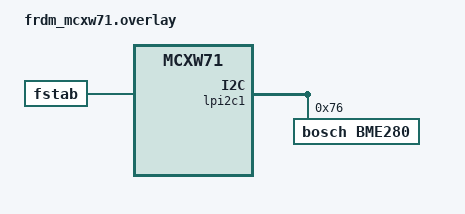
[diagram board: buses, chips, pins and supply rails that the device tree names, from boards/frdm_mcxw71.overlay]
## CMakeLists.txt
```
# Copyright (c) 2025 Golioth, Inc.
#
# SPDX-License-Identifier: Apache-2.0

cmake_minimum_required(VERSION 3.20.0)

find_package(Zephyr REQUIRED HINTS $ENV{ZEPHYR_BASE})
project(ble_gatt_example)

target_sources(app PRIVATE
  src/main.c
  src/credentials.c
  src/fatal_error.c
  src/fw_update.c
  src/app_weather.c
)
```

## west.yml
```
# Copyright (c) 2025 Golioth, Inc.
# SPDX-License-Identifier: Apache-2.0

manifest:
  version: 0.8

  projects:

# Temporarily calling out Zephyr first to pull in 4.1.0 in order to use LinkServer and nxp_hal

    - name: zephyr
      revision: v4.1.0
      url: https://github.com/zephyrproject-rtos/zephyr
      west-commands: scripts/west-commands.yml
      import:
        path-prefix: deps
        name-allowlist:
          - zephyr
          - cmsis
          - hal_nordic
          - hal_nxp
          - mbedtls
          - mcuboot
          - segger
          - tfm-mcuboot
          - tinycrypt
          - trusted-firmware-m
          - zcbor
          - littlefs
    - name: pouch
      path: deps/pouch
      revision: v0.1.0
      west-commands: scripts/west-commands.yml
      url: https://github.com/golioth/pouch/
      import: true
```

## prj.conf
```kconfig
# Copyright (c) 2025 Golioth, Inc.
#
# SPDX-License-Identifier: Apache-2.0

CONFIG_BT=y
CONFIG_BT_SMP=y
CONFIG_BT_PERIPHERAL=y
CONFIG_BT_DEVICE_NAME="Golioth"
CONFIG_BT_DEVICE_APPEARANCE=768

CONFIG_BT_BUF_ACL_TX_SIZE=251
CONFIG_BT_BUF_ACL_RX_SIZE=251
CONFIG_BT_L2CAP_TX_MTU=247

# This is needed due to an off-by-one error in Kconfig defaults
CONFIG_BT_CTLR_DATA_LENGTH_MAX=251

CONFIG_BT_RX_STACK_SIZE=4096

CONFIG_MAIN_STACK_SIZE=4096

CONFIG_MBEDTLS_HEAP_SIZE=9192

# CONFIG_MBEDTLS_ENABLE_HEAP=y

# This option is implied by BT_SMP and breaks secp384r1 support
CONFIG_MBEDTLS_PSA_P256M_DRIVER_ENABLED=n

# Turn off default options to reduce ROM usage
CONFIG_MBEDTLS_PKCS5_C=n

CONFIG_LOG=y
CONFIG_ZCBOR=y
CONFIG_REBOOT=y
CONFIG_SHELL=y

CONFIG_POUCH=y
CONFIG_POUCH_TRANSPORT_BLE_GATT=y

CONFIG_GOLIOTH=y
CONFIG_GOLIOTH_SETTINGS=y
CONFIG_GOLIOTH_OTA=y

# Enable flash operations
CONFIG_FLASH=y
CONFIG_FLASH_MAP=y

# Enable the LittleFS file system
CONFIG_FILE_SYSTEM=y
CONFIG_FILE_SYSTEM_LITTLEFS=y
CONFIG_FILE_SYSTEM_SHELL=y

CONFIG_MCUMGR=y

# Enable console with mcumgr pass through
CONFIG_CONSOLE=y
CONFIG_UART_CONSOLE=y
CONFIG_UART_CONSOLE_MCUMGR=y

# Enable the shell mcumgr transport. This allows SMP messages to pass
# through the shell to the mgmt subsystem.
CONFIG_CRC=y
CONFIG_MCUMGR_TRANSPORT_SHELL=y

# Enable mcumgr params to allow smpmgr to query device for its MTU
CONFIG_MCUMGR_GRP_OS=y
CONFIG_MCUMGR_GRP_OS_MCUMGR_PARAMS=y

# Enable file system commands
CONFIG_MCUMGR_GRP_FS=y

CONFIG_MCUMGR_MGMT_NOTIFICATION_HOOKS=y
CONFIG_MCUMGR_GRP_FS_FILE_ACCESS_HOOK=y

CONFIG_STREAM_FLASH=y
CONFIG_IMG_MANAGER=y
CONFIG_IMG_ERASE_PROGRESSIVELY=y


CONFIG_I2C=y
CONFIG_I2C_SHELL=y
CONFIG_SENSOR=y
CONFIG_SENSOR_SHELL=y
CONFIG_GPIO=y
CONFIG_GPIO_SHELL=y

# CONFIG_UART_CONSOLE=n
# CONFIG_RTT_CONSOLE=y
# CONFIG_USE_SEGGER_RTT=y
```

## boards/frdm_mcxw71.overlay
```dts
&lpi2c1 {
	bme280@76 {
		compatible = "bosch,bme280";
		reg = <0x76>;
	};
};

/ {
	fstab {
		compatible = "zephyr,fstab";
		lfs1: lfs1 {
			compatible = "zephyr,fstab,littlefs";
			mount-point = "/lfs1";
			partition = <&storage_partition>;
			automount;
			read-size = <16>;
			prog-size = <16>;
			cache-size = <64>;
			lookahead-size = <32>;
			block-cycles = <512>;
		};
	};
};
```

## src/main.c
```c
/*
 * Copyright (c) 2025 Golioth
 *
 * SPDX-License-Identifier: Apache-2.0
 */

#include <zephyr/logging/log.h>
LOG_MODULE_REGISTER(main);

#include "credentials.h"

#include <zephyr/bluetooth/bluetooth.h>
#include <zephyr/bluetooth/conn.h>
#include <zephyr/drivers/gpio.h>

#include <pouch/pouch.h>
#include <pouch/events.h>
#include <pouch/uplink.h>
#include <pouch/downlink.h>
#include <pouch/transport/ble_gatt/peripheral.h>
#include <pouch/transport/ble_gatt/common/types.h>

#include <golioth/golioth.h>
#include <golioth/settings_callbacks.h>

#include <app_version.h>

#include "app_weather.h"

static const struct gpio_dt_spec led = GPIO_DT_SPEC_GET_OR(DT_ALIAS(led0), gpios, {});

static struct
{
    uint8_t uuid[16];
    struct golioth_ble_gatt_adv_data data;
} __packed service_data = {
    .uuid = {GOLIOTH_BLE_GATT_UUID_SVC_VAL},
    .data =
        {
            .version = (POUCH_VERSION << GOLIOTH_BLE_GATT_ADV_VERSION_POUCH_SHIFT)
                | (GOLIOTH_BLE_GATT_VERSION << GOLIOTH_BLE_GATT_ADV_VERSION_SELF_SHIFT),
            .flags = 0x0,
        },
};

static struct bt_data ad[] = {
    BT_DATA_BYTES(BT_DATA_FLAGS, (BT_LE_AD_GENERAL | BT_LE_AD_NO_BREDR)),
    BT_DATA(BT_DATA_NAME_COMPLETE, CONFIG_BT_DEVICE_NAME, sizeof(CONFIG_BT_DEVICE_NAME) - 1),
};

static struct bt_data sd[] = {
    BT_DATA(BT_DATA_SVC_DATA128, &service_data, sizeof(service_data)),
};

static void connected(struct bt_conn *conn, uint8_t err)
{
    if (err)
    {
        LOG_DBG("Connection failed (err 0x%02x)", err);
    }
    else
    {
        LOG_DBG("Connected");
    }
}

void disconnect_work_handler(struct k_work *work)
{
    int err = bt_le_adv_start(BT_LE_ADV_CONN_FAST_2, ad, ARRAY_SIZE(ad), sd, ARRAY_SIZE(sd));
    if (err)
    {
        LOG_ERR("Advertising failed to start (err %d)", err);
    }
}

K_WORK_DELAYABLE_DEFINE(disconnect_work, disconnect_work_handler);

static void disconnected(struct bt_conn *conn, uint8_t reason)
{
    LOG_DBG("Disconnected (reason 0x%02x)", reason);

    k_work_schedule(&disconnect_work, K_SECONDS(1));
}

BT_CONN_CB_DEFINE(conn_callbacks) = {
    .connected = connected,
    .disconnected = disconnected,
};

void sync_request_work_handler(struct k_work *work)
{
    service_data.data.flags = 0x01;
    bt_le_adv_update_data(ad, ARRAY_SIZE(ad), sd, ARRAY_SIZE(sd));
}

K_WORK_DELAYABLE_DEFINE(sync_request_work, sync_request_work_handler);

static void pouch_event_handler(enum pouch_event event, void *ctx)
{
    if (POUCH_EVENT_SESSION_START == event)
    {
        char buf[52];
        get_latest_weather(buf,sizeof(buf));
        LOG_DBG("Returned JSON: %s",buf);
        if (POUCH_EVENT_SESSION_START == event)
        {
            IF_DISABLED(CONFIG_BME280, (
                pouch_uplink_entry_write(".s/sensor",
                                        POUCH_CONTENT_TYPE_JSON,
                                        "{\"temp\":22}",
                                        sizeof("{\"temp\":22}") - 1,
                                        K_FOREVER);
                )
            )

            IF_ENABLED(CONFIG_BME280, (
                pouch_uplink_entry_write(".s/sensor",
                    POUCH_CONTENT_TYPE_JSON,
                    buf,
                    strlen(buf),
                    K_FOREVER);
                )
            )
            golioth_sync_to_cloud();
        }
    }

    if (POUCH_EVENT_SESSION_END == event)
    {
        service_data.data.flags = 0x00;
        bt_le_adv_update_data(ad, ARRAY_SIZE(ad), sd, ARRAY_SIZE(sd));
        k_work_schedule(&sync_request_work, K_SECONDS(CONFIG_EXAMPLE_SYNC_PERIOD_S));
    }
}

POUCH_EVENT_HANDLER(pouch_event_handler, NULL);

static int led_setting_cb(bool new_value)
{
    LOG_INF("Received LED setting: %d", (int) new_value);

    if (DT_HAS_ALIAS(led0))
    {
        gpio_pin_set_dt(&led, new_value ? 1 : 0);
    }

    return 0;
}

GOLIOTH_SETTINGS_HANDLER(LED, led_setting_cb);

int main(void)
{
    LOG_INF("Pouch SDK Version: " STRINGIFY(APP_BUILD_VERSION));
    LOG_INF("Pouch Protocol Version: %d", POUCH_VERSION);
    LOG_INF("Pouch BLE Transport Protocol Version: %d", GOLIOTH_BLE_GATT_VERSION);

    int err = golioth_ble_gatt_peripheral_init();
    if (err)
    {
        LOG_ERR("Failed to initialize Pouch BLE GATT peripheral (err %d)", err);
        return 0;
    }

    err = bt_enable(NULL);
    if (err)
    {
        LOG_ERR("Bluetooth init failed (err %d)", err);
        return 0;
    }

    LOG_INF("Bluetooth initialized");

    struct pouch_config config = {0};

    err = load_certificate(&config.certificate);
    if (err)
    {
        LOG_ERR("Failed to load certificate (err %d)", err);
        return 0;
    }

    config.private_key = load_private_key();
    if (config.private_key == PSA_KEY_ID_NULL)
    {
        LOG_ERR("Failed to load private key");
        return 0;
    }

    LOG_INF("Credentials loaded");

    err = pouch_init(&config);
    if (err)
    {
        LOG_ERR("Pouch init failed (err %d)", err);
        return 0;
    }

    LOG_INF("Pouch initialized");

    err = bt_le_adv_start(BT_LE_ADV_CONN_FAST_2, ad, ARRAY_SIZE(ad), NULL, 0);
    if (err)
    {
        LOG_ERR("Advertising failed to start (err %d)", err);
        return 0;
    }

    LOG_INF("Advertising started");

    if (DT_HAS_ALIAS(led0))
    {
        err = gpio_pin_configure_dt(&led, GPIO_OUTPUT_ACTIVE);
        if (err < 0)
        {
            LOG_ERR("Could not initialize LED");
        }
    }

    k_work_schedule(&sync_request_work, K_SECONDS(CONFIG_EXAMPLE_SYNC_PERIOD_S));


    app_sensors_init();

    while (1)
    {
        k_sleep(K_SECONDS(1));
    }
    return 0;
}
```

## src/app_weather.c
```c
/*
 * Copyright (c) 2025 Golioth
 *
 * SPDX-License-Identifier: Apache-2.0
 */


#include <zephyr/drivers/sensor.h>
#include <zephyr/logging/log.h>
LOG_MODULE_REGISTER(app_weather, LOG_LEVEL_DBG);

struct weather_data
{
    struct sensor_value tem;
    struct sensor_value pre;
    struct sensor_value hum;
};

#define ERROR_VAL1 999
#define ERROR_VAL2 999999
static const struct sensor_value reading_error = {.val1 = ERROR_VAL1, .val2 = ERROR_VAL2};

/* Global to hold BME280 readings; updated at 1 Hz by thread */
struct weather_data _latest_weather_data = {
    .tem.val1 = ERROR_VAL1,
    .tem.val2 = ERROR_VAL2,
    .pre.val1 = ERROR_VAL1,
    .pre.val2 = ERROR_VAL2,
    .hum.val1 = ERROR_VAL1,
    .hum.val2 = ERROR_VAL2,
};

const struct device *weather_dev;

/* Thread reads weather sensor and provides easy access to latest data */
K_MUTEX_DEFINE(weather_mutex);              /* Protect data */
K_SEM_DEFINE(bme280_initialized_sem, 0, 1); /* Wait until sensor is ready */

void weather_sensor_data_fetch(void)
{
    // LOG_DBG("Reading BME280");
    if (!weather_dev)
    {
        _latest_weather_data.tem = reading_error;
        _latest_weather_data.pre = reading_error;
        _latest_weather_data.hum = reading_error;
        return;
    }
    sensor_sample_fetch(weather_dev);
    k_mutex_lock(&weather_mutex, K_FOREVER);

    sensor_channel_get(weather_dev, SENSOR_CHAN_AMBIENT_TEMP, &_latest_weather_data.tem);
    sensor_channel_get(weather_dev, SENSOR_CHAN_PRESS, &_latest_weather_data.pre);
    sensor_channel_get(weather_dev, SENSOR_CHAN_HUMIDITY, &_latest_weather_data.hum);

    k_mutex_unlock(&weather_mutex);
}

#define WEATHER_STACK 1024

extern void weather_sensor_thread(void *d0, void *d1, void *d2)
{
    /* Block until sensor is available */
    k_sem_take(&bme280_initialized_sem, K_FOREVER);
    while (1)
    {
        weather_sensor_data_fetch();
        k_sleep(K_SECONDS(1));
    }
}

K_THREAD_DEFINE(weather_sensor_tid,
                WEATHER_STACK,
                weather_sensor_thread,
                NULL,
                NULL,
                NULL,
                K_LOWEST_APPLICATION_THREAD_PRIO,
                0,
                0);


/*
 * Get a device structure from a devicetree node with compatible
 * "bosch,bme280". (If there are multiple, just pick one.)
 */
static const struct device *get_bme280_device(void)
{
    const struct device *const bme_dev = DEVICE_DT_GET_ANY(bosch_bme280);

    if (bme_dev == NULL)
    {
        /* No such node, or the node does not have status "okay". */
        LOG_ERR("\nError: no device found.");
        return NULL;
    }

    if (!device_is_ready(bme_dev))
    {
        LOG_ERR(
            "Error: Device \"%s\" is not ready; "
            "check the driver initialization logs for errors.",
            bme_dev->name);
        return NULL;
    }

    LOG_DBG("Found device \"%s\", getting sensor data", bme_dev->name);

    /* Give semaphore to signal sensor is ready for reading */
    k_sem_give(&bme280_initialized_sem);
    return bme_dev;
}

void get_latest_weather(char *buf, uint8_t buf_len)
{
    if ((_latest_weather_data.tem.val1 == reading_error.val1)
        && (_latest_weather_data.tem.val2 == reading_error.val2))
    {
        buf[0] = '\0';
    }
    else
    {
        int len = snprintk(buf,
                           buf_len,
                           "{\"temp\":%d.%06d,\"pre\":%d.%06d,\"hum\":%d.%06d}",
                           _latest_weather_data.tem.val1,
                           abs(_latest_weather_data.tem.val2),
                           _latest_weather_data.pre.val1,
                           abs(_latest_weather_data.pre.val2),
                           _latest_weather_data.hum.val1,
                           abs(_latest_weather_data.hum.val2));
        LOG_DBG("JSON: %s", buf);
    }
}


void app_sensors_init(void)
{
    LOG_INF("Initializing BME280");

    weather_dev = get_bme280_device();
    weather_sensor_data_fetch();
}
```

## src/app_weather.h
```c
/*
 * Copyright (c) 2025 Golioth, Inc.
 *
 * SPDX-License-Identifier: Apache-2.0
 */

#ifndef __APP_WEATHER_H__
#define __APP_WEATHER_H__

void app_sensors_init(void);
void get_latest_weather(char *, uint8_t);

#endif /* __APP_WEATHER_H__ */
```
